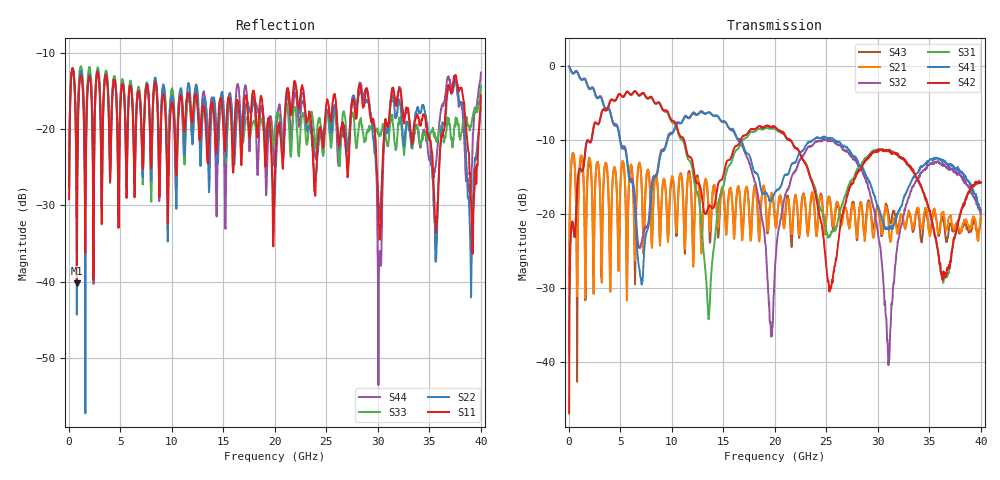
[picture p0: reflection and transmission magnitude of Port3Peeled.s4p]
! File created by SignalIntegrity v1.1.7: Signal and Power Integrity Tools
! https://github.com/TeledyneLeCroy/SignalIntegrity
# MHz MA S R 50.0
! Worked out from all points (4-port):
!   1600 points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, 25 MHz to 40 GHz, reference 50 ohm
!   strongest paths, dB at 25 MHz, 10.03 GHz, 20.02 GHz, 30.02 GHz, 40 GHz:
!     S42: -46.9, -7.4, -8.3, -11.4, -15.8
!     S41: -0.2, -9.2, -17.1, -19.0, -19.5
!     S31: -38.6, -7.6, -8.5, -11.4, -15.8
!     S32: -0.1, -9.0, -26.9, -22.9, -20.0
!     S21: -30.1, -14.9, -21.4, -18.9, -19.6
!     S43: -28.4, -15.3, -21.1, -19.0, -20.5
!   lowest |S11| = -40.2 dB at 775 MHz (marker M1), VSWR 1.02, Z = 49.4 - j0.736 ohm
!   |S11| at or under -10 dB: start of sweep to end of sweep
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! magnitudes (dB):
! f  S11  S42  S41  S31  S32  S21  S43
! 25 MHz  -29.2  -46.9  -0.2  -38.6  -0.1  -30.1  -28.4
! 775 MHz  -40.2  -17.5  -0.9  -17.6  -0.7  -28.6  -29.8
! 7 GHz  -18.1  -3.9  -28.9  -3.9  -24.1  -14.4  -14.5
! 13.55 GHz  -23.0  -19.1  -6.3  -34.2  -6.3  -19.2  -19.2
! 19.62 GHz  -21.6  -8.3  -18.3  -8.5  -36.4  -17.5  -17.8
! 30.18 GHz  -34.5  -11.3  -19.7  -11.4  -24.0  -20.0  -20.4
! 40 GHz  -15.6  -15.8  -19.5  -15.8  -20.0  -19.6  -20.5
